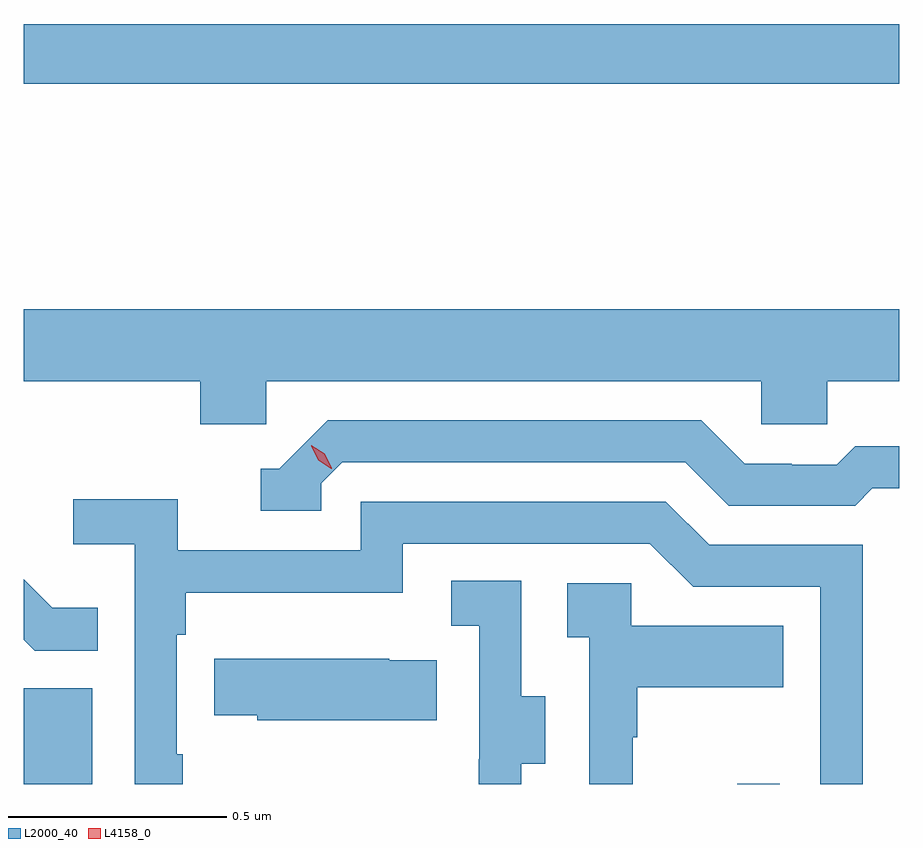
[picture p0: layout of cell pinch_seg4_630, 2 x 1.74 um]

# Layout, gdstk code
import gdstk
lib = gdstk.Library(unit=1e-6, precision=1e-09)
def R(c, l, rs):  # rectangles x0, y0, x1, y1
    for r in rs: c.add(gdstk.rectangle(r[:2], r[2:], *l))
def P(c, l, *ps):  # polygons
    for p in ps: c.add(gdstk.Polygon(p, *l))
L2000_40 = (2000, 40)
L4158_0 = (4158, 0)

pinch_seg4_630 = lib.new_cell('pinch_seg4_630')
R(pinch_seg4_630, L2000_40, [(1070.44,758.604,1070.596,758.823), (1072.07,758.604,1072.167,758.605), (1070.44,760.204,1072.44,760.34)])
P(pinch_seg4_630, L2000_40, [(1070.994,759.524),(1072.125,759.524),(1072.125,759.426),(1072.275,759.426),(1072.275,759.524),(1072.44,759.524),(1072.44,759.688),(1070.44,759.688),(1070.44,759.524),(1070.843,759.524),(1070.843,759.426),(1070.994,759.426)],
  [(1071.12,759.291),(1071.168,759.339),(1071.951,759.339),(1072.05,759.24),(1072.339,759.24),(1072.378,759.279),(1072.44,759.279),(1072.44,759.376),(1072.339,759.376),(1072.297,759.333),(1072.194,759.333),(1072.194,759.336),(1072.087,759.336),(1071.988,759.435),(1071.135,759.435),(1071.024,759.324),(1070.981,759.324),(1070.981,759.228),(1071.12,759.228)],
  [(1070.803,758.672),(1070.79,758.672),(1070.79,758.945),(1070.81,758.945),(1070.81,759.041),(1071.306,759.041),(1071.306,759.153),(1071.87,759.153),(1071.969,759.054),(1072.26,759.054),(1072.26,758.604),(1072.356,758.604),(1072.356,759.15),(1072.006,759.15),(1071.907,759.249),(1071.21,759.249),(1071.21,759.138),(1070.792,759.138),(1070.792,759.254),(1070.553,759.254),(1070.553,759.152),(1070.694,759.152),(1070.694,758.604),(1070.803,758.604)],
  [(1070.609,759.007),(1070.505,759.007),(1070.44,759.072),(1070.44,758.933),(1070.465,758.908),(1070.609,758.908)],
  [(1071.577,758.65),(1071.631,758.65),(1071.631,758.805),(1071.576,758.805),(1071.576,759.068),(1071.417,759.068),(1071.417,758.965),(1071.48,758.965),(1071.48,758.661),(1071.479,758.661),(1071.479,758.604),(1071.577,758.604)],
  [(1071.831,758.711),(1071.841,758.711),(1071.841,758.825),(1072.175,758.825),(1072.175,758.965),(1071.828,758.965),(1071.828,759.063),(1071.681,759.063),(1071.681,758.939),(1071.732,758.939),(1071.732,758.604),(1071.831,758.604)],
  [(1071.383,758.887),(1071.275,758.887),(1071.275,758.89),(1070.875,758.89),(1070.875,758.761),(1070.973,758.761),(1070.973,758.75),(1071.383,758.75)])
P(pinch_seg4_630, L4158_0, [(1071.143,759.324),(1071.113,759.344),(1071.097,759.377),(1071.097,759.378),(1071.097,759.378),(1071.128,759.358),(1071.144,759.325),(1071.144,759.324)])

lib.write_gds('pinch_seg4_630.gds')
